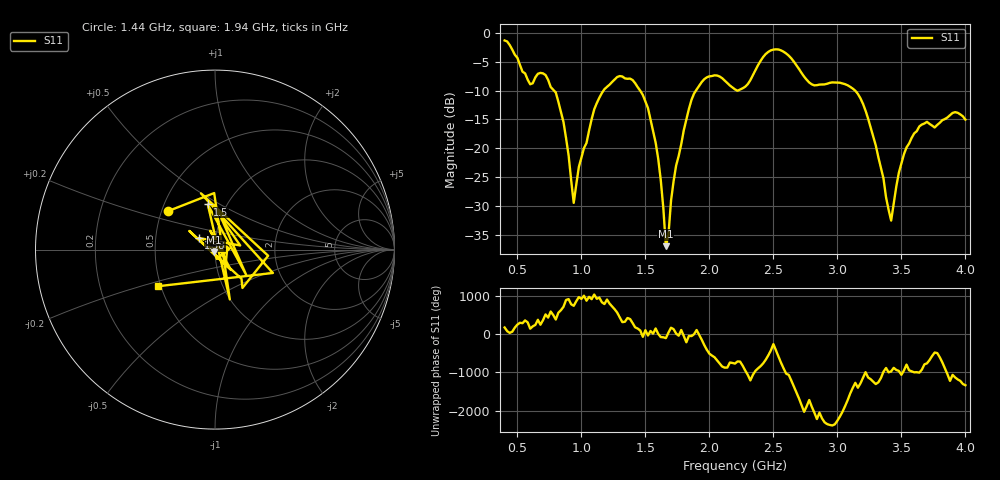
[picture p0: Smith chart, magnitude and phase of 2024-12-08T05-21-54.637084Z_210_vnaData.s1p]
!Created with skrf (http://scikit-rf.org).
# Hz S RI R 50.0
!freq ReS11 ImS11
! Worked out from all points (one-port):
!   181 points, 400 MHz to 4 GHz, reference 50 ohm
!   lowest |S11| = -37.0 dB at 1.66 GHz (marker M1), VSWR 1.03, Z = 49.6 - j1.34 ohm
!   |S11| at or under -10 dB: 785.8 MHz to 1.173 GHz (386.8 MHz wide, 39.5 % of centre); 1.459 GHz to 1.895 GHz (435.8 MHz wide, 26 % of centre); 3.139 GHz to end of sweep (the widest 3 of 4)
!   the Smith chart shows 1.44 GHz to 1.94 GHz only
!   S11 on the Smith chart (normalised r, x): 1.44 GHz: 0.54, +0.26; 1.5 GHz: 0.82, +0.44; 1.58 GHz: 0.83, +0.11; 1.94 GHz: 0.49, -0.23
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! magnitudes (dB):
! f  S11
! 400 MHz  -1.3
! 600 MHz  -8.9
! 720 MHz  -7.3
! 860 MHz  -15.5
! 940 MHz  -29.5
! 980 MHz  -23.3
! 1.1 GHz  -13.3
! 1.3 GHz  -7.5
! 1.44 GHz  -9.4
! 1.5 GHz  -11.9
! 1.58 GHz  -19.0
! 1.62 GHz  -25.5
! 1.66 GHz  -37.0
! 1.72 GHz  -25.8
! 1.76 GHz  -21.3
! 1.86 GHz  -11.6
! 1.94 GHz  -8.5
! 2.2 GHz  -9.8
! 2.48 GHz  -3.0
! 2.66 GHz  -5.0
! 2.8 GHz  -8.9
! 3.1 GHz  -9.3
! 3.24 GHz  -14.9
! 3.42 GHz  -32.6
! 3.48 GHz  -24.3
! 3.56 GHz  -19.2
! 3.7 GHz  -15.4
! 4 GHz  -15.0
